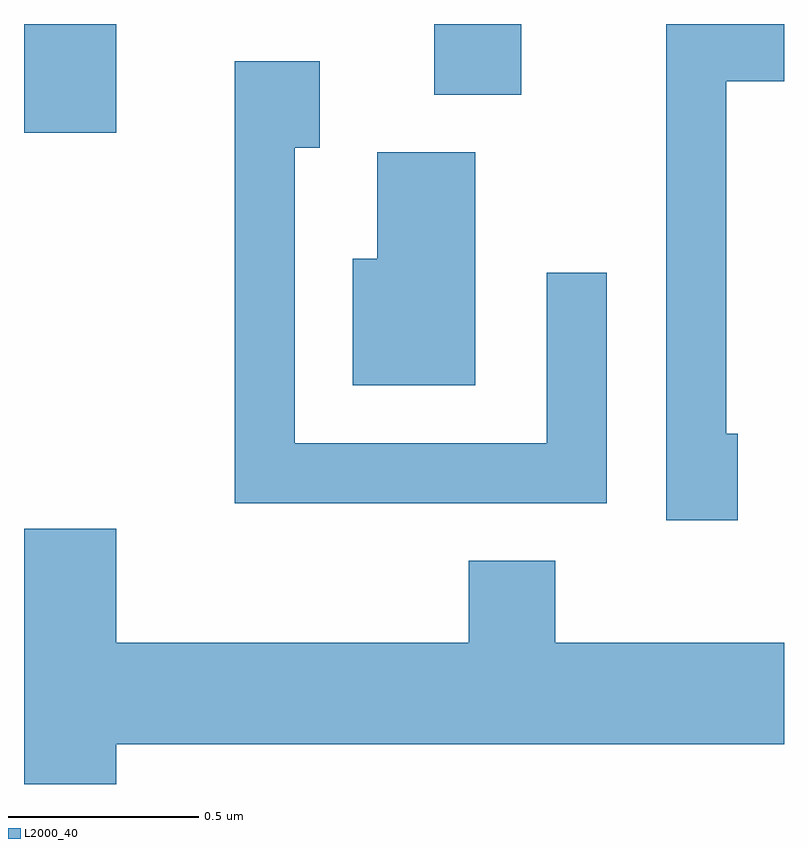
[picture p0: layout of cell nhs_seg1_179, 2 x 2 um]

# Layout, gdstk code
import gdstk
lib = gdstk.Library(unit=1e-6, precision=1e-09)
def R(c, l, rs):  # rectangles x0, y0, x1, y1
    for r in rs: c.add(gdstk.rectangle(r[:2], r[2:], *l))
def P(c, l, *ps):  # polygons
    for p in ps: c.add(gdstk.Polygon(p, *l))
L2000_40 = (2000, 40)

nhs_seg1_179 = lib.new_cell('nhs_seg1_179')
R(nhs_seg1_179, L2000_40, [(186.611,883.426,186.854,883.712), (187.691,883.526,187.919,883.712)])
P(nhs_seg1_179, L2000_40, [(188.489,882.634),(188.459,882.634),(188.459,883.561),(188.611,883.561),(188.611,883.712),(188.301,883.712),(188.301,882.406),(188.489,882.406)],
  [(188.144,883.058),(187.986,883.058),(187.986,882.609),(187.324,882.609),(187.324,883.386),(187.389,883.386),(187.389,883.614),(187.166,883.614),(187.166,882.451),(188.144,882.451)],
  [(187.799,883.374),(187.541,883.374),(187.541,883.094),(187.476,883.094),(187.476,882.761),(187.799,882.761)],
  [(186.854,881.816),(188.611,881.816),(188.611,882.084),(188.009,882.084),(188.009,882.299),(187.781,882.299),(187.781,882.084),(186.854,882.084),(186.854,882.384),(186.611,882.384),(186.611,881.712),(186.854,881.712)])

lib.write_gds('nhs_seg1_179.gds')
